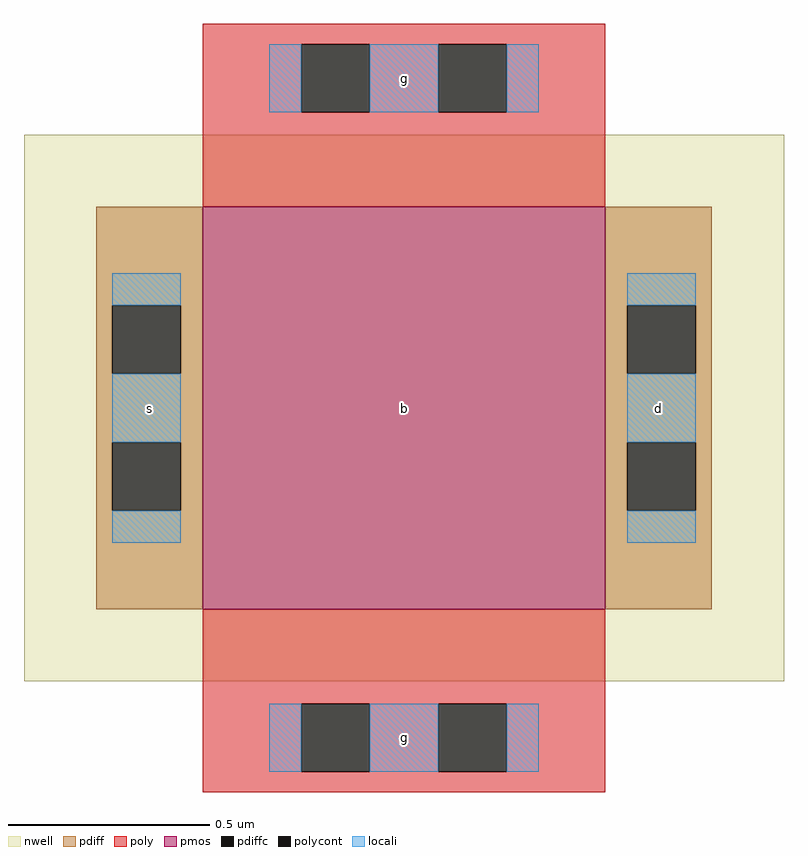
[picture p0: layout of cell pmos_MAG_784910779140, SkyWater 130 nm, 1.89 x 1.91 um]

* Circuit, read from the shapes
.subckt pmos_MAG_784910779140 d s g b
XM1 d g s b sky130_fd_pr__pfet_01v8 w=1 l=1
.ends

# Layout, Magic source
magic
tech sky130A
magscale 1 2
<< nwell >>
rect -89 -36 289 236
<< pmos >>
rect 0 0 200 200
<< pdiff >>
rect -53 151 0 200
rect -53 117 -45 151
rect -11 117 0 151
rect -53 83 0 117
rect -53 49 -45 83
rect -11 49 0 83
rect -53 0 0 49
rect 200 151 253 200
rect 200 117 211 151
rect 245 117 253 151
rect 200 83 253 117
rect 200 49 211 83
rect 245 49 253 83
rect 200 0 253 49
<< pdiffc >>
rect -45 117 -11 151
rect -45 49 -11 83
rect 211 117 245 151
rect 211 49 245 83
<< poly >>
rect 0 281 200 291
rect 0 247 49 281
rect 83 247 117 281
rect 151 247 200 281
rect 0 200 200 247
rect 0 -47 200 0
rect 0 -81 49 -47
rect 83 -81 117 -47
rect 151 -81 200 -47
rect 0 -91 200 -81
<< polycont >>
rect 49 247 83 281
rect 117 247 151 281
rect 49 -81 83 -47
rect 117 -81 151 -47
<< locali >>
rect 33 247 49 281
rect 83 247 117 281
rect 151 247 167 281
rect -45 151 -11 167
rect -45 83 -11 117
rect -45 33 -11 49
rect 211 151 245 167
rect 211 83 245 117
rect 211 33 245 49
rect 33 -81 49 -47
rect 83 -81 117 -47
rect 151 -81 167 -47
<< labels >>
flabel locali s 33 247 167 281 0 FreeSans 112 0 0 0 g
port 3 nsew
flabel locali s 33 -81 167 -47 0 FreeSans 112 0 0 0 g
port 3 nsew
flabel mvpdiff s 200 0 253 200 0 FreeSans 162 0 0 0 d
port 1 nsew
flabel mvpdiff s -53 0 0 200 0 FreeSans 162 0 0 0 s
port 2 nsew
flabel nwell s -53 0 253 200 0 FreeSans 750 0 0 0 b
port 4 nsew
<< end >>
